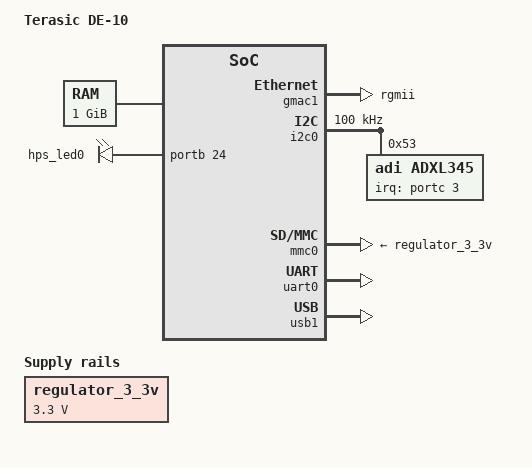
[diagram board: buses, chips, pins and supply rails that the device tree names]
// SPDX-License-Identifier: GPL-2.0
/*
 * Copyright Altera Corporation (C) 2015. All rights reserved.
 */

#include "socfpga_cyclone5.dtsi"

/ {
	model = "Terasic DE-10";
	compatible = "terasic,de10-nano", "altr,socfpga-cyclone5", "altr,socfpga";

	chosen {
		bootargs = "earlyprintk";
		stdout-path = "serial0:115200n8";
	};

	memory@0 {
		name = "memory";
		device_type = "memory";
		reg = <0x0 0x40000000>; /* 1GB */
	};

	aliases {
		ethernet0 = &gmac1;
	};

	regulator_3_3v: 3-3-v-regulator {
		compatible = "regulator-fixed";
		regulator-name = "3.3V";
		regulator-min-microvolt = <3300000>;
		regulator-max-microvolt = <3300000>;
	};

	leds {
		compatible = "gpio-leds";
		hps0 {
			label = "hps_led0";
			gpios = <&portb 24 0>;
			linux,default-trigger = "heartbeat";
		};
	};
};

/ {
	soc {
		fpga_interrupts {
			compatible = "altr,fpga_interrupts";
			interrupts = <
				GIC_SPI 40 IRQ_TYPE_EDGE_RISING /* FPGA_IRQ0 */
                GIC_SPI 41 IRQ_TYPE_EDGE_RISING /* FPGA_IRQ1 */
                GIC_SPI 42 IRQ_TYPE_EDGE_RISING /* FPGA_IRQ2 */
                GIC_SPI 43 IRQ_TYPE_EDGE_RISING /* FPGA_IRQ3 */
                GIC_SPI 44 IRQ_TYPE_EDGE_RISING /* FPGA_IRQ4 */
                GIC_SPI 45 IRQ_TYPE_EDGE_RISING /* FPGA_IRQ5 */
                GIC_SPI 46 IRQ_TYPE_EDGE_RISING /* FPGA_IRQ6 */
                GIC_SPI 47 IRQ_TYPE_EDGE_RISING /* FPGA_IRQ7 */
                GIC_SPI 48 IRQ_TYPE_EDGE_RISING /* FPGA_IRQ8 */
                GIC_SPI 49 IRQ_TYPE_EDGE_RISING /* FPGA_IRQ9 */
                GIC_SPI 50 IRQ_TYPE_EDGE_RISING /* FPGA_IRQ10 */
                GIC_SPI 51 IRQ_TYPE_EDGE_RISING /* FPGA_IRQ11 */
                GIC_SPI 52 IRQ_TYPE_EDGE_RISING /* FPGA_IRQ12 */
                GIC_SPI 53 IRQ_TYPE_EDGE_RISING /* FPGA_IRQ13 */
                GIC_SPI 54 IRQ_TYPE_EDGE_RISING /* FPGA_IRQ14 */
                GIC_SPI 55 IRQ_TYPE_EDGE_RISING /* FPGA_IRQ15 */
                GIC_SPI 56 IRQ_TYPE_EDGE_RISING /* FPGA_IRQ16 */
                GIC_SPI 57 IRQ_TYPE_EDGE_RISING /* FPGA_IRQ17 */
                GIC_SPI 58 IRQ_TYPE_EDGE_RISING /* FPGA_IRQ18 */
                GIC_SPI 59 IRQ_TYPE_EDGE_RISING /* FPGA_IRQ19 */
                GIC_SPI 60 IRQ_TYPE_EDGE_RISING /* FPGA_IRQ20 */
                GIC_SPI 61 IRQ_TYPE_EDGE_RISING /* FPGA_IRQ21 */
                GIC_SPI 62 IRQ_TYPE_EDGE_RISING /* FPGA_IRQ22 */
                GIC_SPI 63 IRQ_TYPE_EDGE_RISING /* FPGA_IRQ23 */
                GIC_SPI 64 IRQ_TYPE_EDGE_RISING /* FPGA_IRQ24 */
                GIC_SPI 65 IRQ_TYPE_EDGE_RISING /* FPGA_IRQ25 */
                GIC_SPI 66 IRQ_TYPE_EDGE_RISING /* FPGA_IRQ26 */
                GIC_SPI 67 IRQ_TYPE_EDGE_RISING /* FPGA_IRQ27 */
                GIC_SPI 68 IRQ_TYPE_EDGE_RISING /* FPGA_IRQ28 */
                GIC_SPI 69 IRQ_TYPE_EDGE_RISING /* FPGA_IRQ29 */
                GIC_SPI 70 IRQ_TYPE_EDGE_RISING /* FPGA_IRQ30 */
                GIC_SPI 71 IRQ_TYPE_EDGE_RISING /* FPGA_IRQ31 */
                GIC_SPI 72 IRQ_TYPE_EDGE_RISING /* FPGA_IRQ32 */
                GIC_SPI 73 IRQ_TYPE_EDGE_RISING /* FPGA_IRQ33 */
                GIC_SPI 74 IRQ_TYPE_EDGE_RISING /* FPGA_IRQ34 */
                GIC_SPI 75 IRQ_TYPE_EDGE_RISING /* FPGA_IRQ35 */
                GIC_SPI 76 IRQ_TYPE_EDGE_RISING /* FPGA_IRQ36 */
                GIC_SPI 77 IRQ_TYPE_EDGE_RISING /* FPGA_IRQ37 */
                GIC_SPI 78 IRQ_TYPE_EDGE_RISING /* FPGA_IRQ38 */
                GIC_SPI 79 IRQ_TYPE_EDGE_RISING /* FPGA_IRQ39 */
                GIC_SPI 80 IRQ_TYPE_EDGE_RISING /* FPGA_IRQ40 */
                GIC_SPI 81 IRQ_TYPE_EDGE_RISING /* FPGA_IRQ41 */
                GIC_SPI 82 IRQ_TYPE_EDGE_RISING /* FPGA_IRQ42 */
                GIC_SPI 83 IRQ_TYPE_EDGE_RISING /* FPGA_IRQ43 */
                GIC_SPI 84 IRQ_TYPE_EDGE_RISING /* FPGA_IRQ44 */
                GIC_SPI 85 IRQ_TYPE_EDGE_RISING /* FPGA_IRQ45 */
                GIC_SPI 86 IRQ_TYPE_EDGE_RISING /* FPGA_IRQ46 */
                GIC_SPI 87 IRQ_TYPE_EDGE_RISING /* FPGA_IRQ47 */
                GIC_SPI 88 IRQ_TYPE_EDGE_RISING /* FPGA_IRQ48 */
                GIC_SPI 89 IRQ_TYPE_EDGE_RISING /* FPGA_IRQ49 */
                GIC_SPI 90 IRQ_TYPE_EDGE_RISING /* FPGA_IRQ50 */
                GIC_SPI 91 IRQ_TYPE_EDGE_RISING /* FPGA_IRQ51 */
                GIC_SPI 92 IRQ_TYPE_EDGE_RISING /* FPGA_IRQ52 */
                GIC_SPI 93 IRQ_TYPE_EDGE_RISING /* FPGA_IRQ53 */
                GIC_SPI 94 IRQ_TYPE_EDGE_RISING /* FPGA_IRQ54 */
                GIC_SPI 95 IRQ_TYPE_EDGE_RISING /* FPGA_IRQ55 */
                GIC_SPI 96 IRQ_TYPE_EDGE_RISING /* FPGA_IRQ56 */
                GIC_SPI 97 IRQ_TYPE_EDGE_RISING /* FPGA_IRQ57 */
                GIC_SPI 98 IRQ_TYPE_EDGE_RISING /* FPGA_IRQ58 */
                GIC_SPI 99 IRQ_TYPE_EDGE_RISING /* FPGA_IRQ59 */
                GIC_SPI 100 IRQ_TYPE_EDGE_RISING /* FPGA_IRQ60 */
                GIC_SPI 101 IRQ_TYPE_EDGE_RISING /* FPGA_IRQ61 */
                GIC_SPI 102 IRQ_TYPE_EDGE_RISING /* FPGA_IRQ62 */
                GIC_SPI 103 IRQ_TYPE_EDGE_RISING /* FPGA_IRQ63 */
			>;
		};
	};
};

&gmac1 {
	status = "okay";
	phy-mode = "rgmii";

	txd0-skew-ps = <0>; /* -420ps */
	txd1-skew-ps = <0>; /* -420ps */
	txd2-skew-ps = <0>; /* -420ps */
	txd3-skew-ps = <0>; /* -420ps */
	rxd0-skew-ps = <420>; /* 0ps */
	rxd1-skew-ps = <420>; /* 0ps */
	rxd2-skew-ps = <420>; /* 0ps */
	rxd3-skew-ps = <420>; /* 0ps */
	txen-skew-ps = <0>; /* -420ps */
	txc-skew-ps = <1860>; /* 960ps */
	rxdv-skew-ps = <420>; /* 0ps */
	rxc-skew-ps = <1680>; /* 780ps */

	max-frame-size = <3800>;
};

&gpio0 {
	status = "okay";
};

&gpio1 {
	status = "okay";
};

&gpio2 {
	status = "okay";
};

&i2c0 {
	status = "okay";
	clock-frequency = <100000>;

	adxl345: adxl345@53 {
		compatible = "adi,adxl345";
		reg = <0x53>;

		interrupt-parent = <&portc>;
		interrupts = <3 2>;
	};
};

&mmc0 {
	vmmc-supply = <&regulator_3_3v>;
	vqmmc-supply = <&regulator_3_3v>;
	status = "okay";
};

&uart0 {
	status = "okay";
};

&usb1 {
	status = "okay";
};

&fpga_bridge0 {
	status = "okay";
	bridge-enable = <1>;
};

&fpga_bridge1 {
	status = "okay";
	bridge-enable = <1>;
};

&fpga_bridge2 {
	status = "okay";
	bridge-enable = <1>;
};

&fpga_bridge3 {
	status = "okay";
	bridge-enable = <1>;
};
